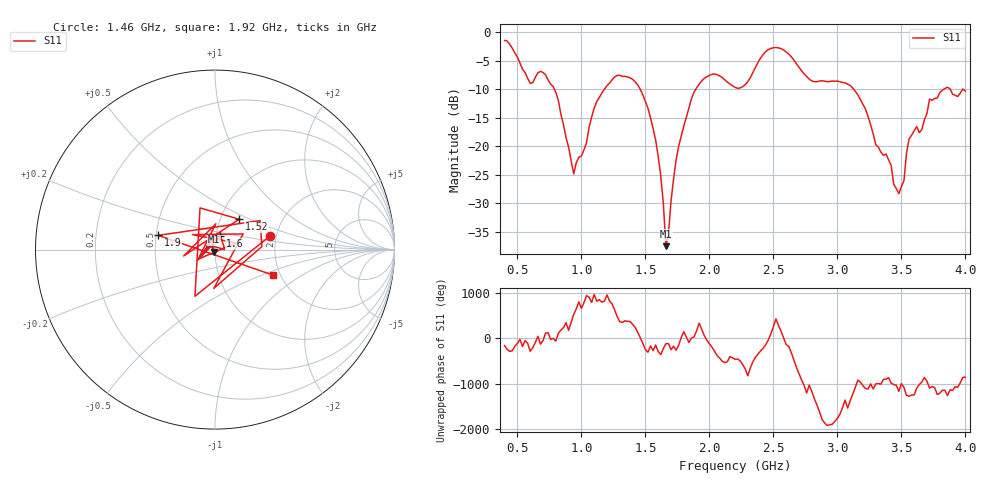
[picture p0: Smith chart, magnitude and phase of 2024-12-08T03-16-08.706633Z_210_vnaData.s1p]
!Created with skrf (http://scikit-rf.org).
# Hz S RI R 50.0
!freq ReS11 ImS11
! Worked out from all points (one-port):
!   181 points, 400 MHz to 4 GHz, reference 50 ohm
!   lowest |S11| = -37.5 dB at 1.66 GHz (marker M1), VSWR 1.03, Z = 49.3 - j1.14 ohm
!   |S11| at or under -10 dB: 789.5 MHz to 1.179 GHz (389.1 MHz wide, 39.5 % of centre); 1.46 GHz to 1.893 GHz (432.3 MHz wide, 25.8 % of centre); 3.129 GHz to 3.829 GHz (700.5 MHz wide, 20.1 % of centre) (the widest 3 of 5)
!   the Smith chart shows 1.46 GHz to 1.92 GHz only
!   S11 on the Smith chart (normalised r, x): 1.46 GHz: 1.85, +0.32; 1.52 GHz: 1.23, +0.44; 1.6 GHz: 1.05, +0.16; 1.9 GHz: 0.51, +0.09; 1.92 GHz: 1.83, -0.59
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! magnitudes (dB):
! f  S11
! 400 MHz  -1.4
! 600 MHz  -8.9
! 720 MHz  -7.4
! 860 MHz  -16.2
! 940 MHz  -24.9
! 1.12 GHz  -12.2
! 1.3 GHz  -7.5
! 1.46 GHz  -10.0
! 1.52 GHz  -13.3
! 1.6 GHz  -21.8
! 1.64 GHz  -30.1
! 1.66 GHz  -37.5
! 1.76 GHz  -20.0
! 1.9 GHz  -9.7
! 1.92 GHz  -9.1
! 2.04 GHz  -7.3
! 2.2 GHz  -9.6
! 2.48 GHz  -2.8
! 2.66 GHz  -4.9
! 2.8 GHz  -8.5
! 3.1 GHz  -9.3
! 3.42 GHz  -23.4
! 3.48 GHz  -28.3
! 3.52 GHz  -26.0
! 3.56 GHz  -18.7
! 3.66 GHz  -17.0
! 3.72 GHz  -11.7
! 4 GHz  -10.3
